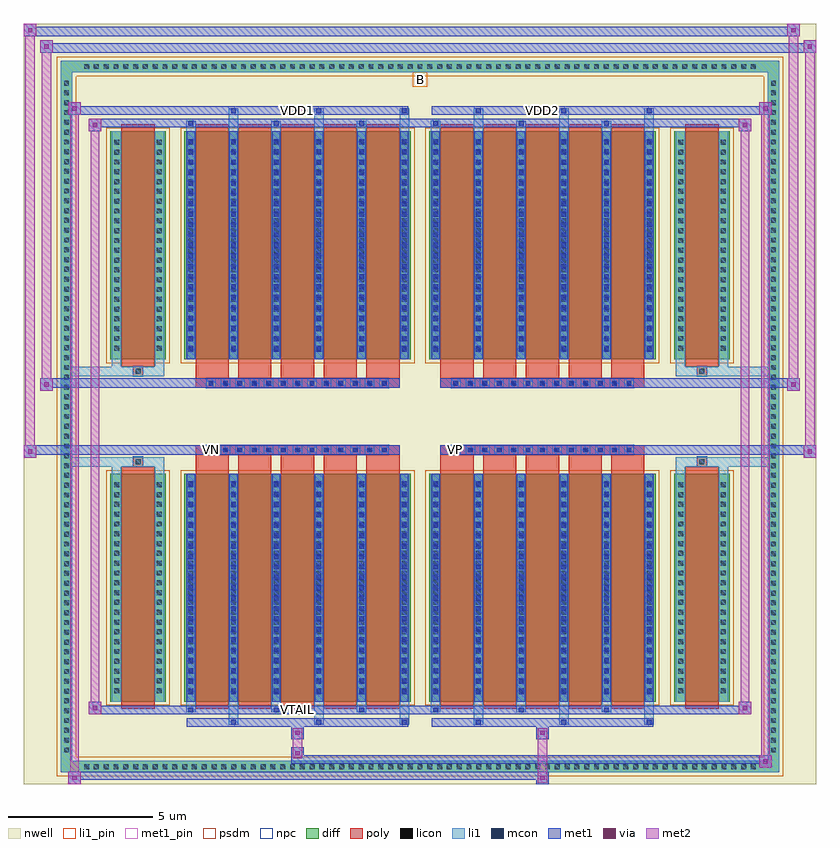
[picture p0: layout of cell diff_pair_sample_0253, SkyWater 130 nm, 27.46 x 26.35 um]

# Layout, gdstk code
import gdstk
lib = gdstk.Library(unit=1e-6, precision=5e-09)
def R(c, l, rs):  # rectangles x0, y0, x1, y1
    for r in rs: c.add(gdstk.rectangle(r[:2], r[2:], *l))
def A(c, l, x, y, w, h, nx, ny, dx, dy):  # array of equal rectangles
    R(c, l, [(x+i*dx, y+j*dy, x+i*dx+w, y+j*dy+h) for i in range(nx) for j in range(ny)])
def P(c, l, *ps):  # polygons
    for p in ps: c.add(gdstk.Polygon(p, *l))
nwell = (64, 20)
diff = (65, 20)
poly = (66, 20)
licon = (66, 44)
li1_pin = (67, 16)
li1 = (67, 20)
mcon = (67, 44)
met1_pin = (68, 16)
met1 = (68, 20)
via = (68, 44)
met2 = (69, 20)
psdm = (94, 20)
npc = (95, 20)

diff_pair_sample_0253 = lib.new_cell('diff_pair_sample_0253')
R(diff_pair_sample_0253, nwell, [(-13.73,-12.74,13.73,13.61), (-11.05,-10.93,-0.01,-0.795), (0.01,-10.93,11.05,-0.795), (-11.05,0.795,-0.01,10.93), (0.01,0.795,11.05,10.93)])
A(diff_pair_sample_0253, diff, -11.765, -12.34, 0.41, 0.41, 69, 2, 0.34, 24.27)
A(diff_pair_sample_0253, diff, -12.46, -11.765, 0.41, 0.41, 1, 69, 0, 0.34)
A(diff_pair_sample_0253, diff, 12.05, -11.765, 0.41, 0.41, 1, 69, 0, 0.34)
R(diff_pair_sample_0253, diff, [(-11.765,-12.34,11.765,-11.93), (-12.46,-11.765,-12.05,11.765), (12.05,-11.765,12.46,11.765), (-10.74,-9.885,-8.81,-1.985), (-8.17,-9.885,-0.32,-1.985), (0.32,-9.885,8.17,-1.985), (8.81,-9.885,10.74,-1.985), (-10.74,1.985,-8.81,9.885), (-8.17,1.985,-0.32,9.885), (0.32,1.985,8.17,9.885), (8.81,1.985,10.74,9.885), (-11.765,11.93,11.765,12.34)])
P(diff_pair_sample_0253, diff, [(12.46,12.34),(-12.46,12.34),(-12.46,-11.93),(-12.05,-11.93),(-12.05,11.93),(12.05,11.93),(12.05,-11.93),(-12.05,-11.93),(-12.46,-11.93),(-12.46,-12.34),(12.46,-12.34)])
A(diff_pair_sample_0253, poly, -7.78, -10.135, 1.15, 8.4, 5, 2, 1.48, 11.87)
A(diff_pair_sample_0253, poly, 0.71, -10.135, 1.15, 8.4, 5, 2, 1.48, 11.87)
A(diff_pair_sample_0253, poly, -7.78, -1.735, 1.15, 0.41, 5, 2, 1.48, 3.06)
A(diff_pair_sample_0253, poly, 0.71, -1.735, 1.15, 0.41, 5, 2, 1.48, 3.06)
A(diff_pair_sample_0253, poly, -7.41, -1.325, 0.33, 0.33, 13, 2, 0.5, 2.32)
A(diff_pair_sample_0253, poly, 1.08, -1.325, 0.33, 0.33, 13, 2, 0.5, 2.32)
R(diff_pair_sample_0253, poly, [(-10.35,-10.135,-9.2,-1.735), (9.2,-10.135,10.35,-1.735), (-9.94,-1.735,-9.61,-1.405), (-9.94,-1.735,-9.61,-1.405), (9.61,-1.735,9.94,-1.405), (9.61,-1.735,9.94,-1.405), (-7.78,-1.325,-0.71,-0.995), (0.71,-1.325,7.78,-0.995), (-7.78,0.995,-0.71,1.325), (0.71,0.995,7.78,1.325), (-9.94,1.405,-9.61,1.735), (-9.94,1.405,-9.61,1.735), (9.61,1.405,9.94,1.735), (9.61,1.405,9.94,1.735), (-10.35,1.735,-9.2,10.135), (9.2,1.735,10.35,10.135)])
A(diff_pair_sample_0253, licon, -11.645, -12.22, 0.17, 0.17, 69, 2, 0.34, 24.27)
A(diff_pair_sample_0253, licon, -12.34, -11.645, 0.17, 0.17, 1, 69, 0, 0.34)
A(diff_pair_sample_0253, licon, 12.17, -11.645, 0.17, 0.17, 1, 69, 0, 0.34)
A(diff_pair_sample_0253, licon, -10.6, -9.59, 0.17, 0.17, 1, 22, 0, 0.34)
A(diff_pair_sample_0253, licon, -9.12, -9.59, 0.17, 0.17, 1, 22, 0, 0.34)
A(diff_pair_sample_0253, licon, -8.03, -9.59, 0.17, 0.17, 6, 22, 1.48, 0.34)
A(diff_pair_sample_0253, licon, 0.46, -9.59, 0.17, 0.17, 6, 22, 1.48, 0.34)
A(diff_pair_sample_0253, licon, 8.95, -9.59, 0.17, 0.17, 1, 22, 0, 0.34)
A(diff_pair_sample_0253, licon, 10.43, -9.59, 0.17, 0.17, 1, 22, 0, 0.34)
A(diff_pair_sample_0253, licon, -7.33, -1.245, 0.17, 0.17, 13, 2, 0.5, 2.32)
A(diff_pair_sample_0253, licon, 1.16, -1.245, 0.17, 0.17, 13, 2, 0.5, 2.32)
A(diff_pair_sample_0253, licon, -10.6, 2.28, 0.17, 0.17, 1, 22, 0, 0.34)
A(diff_pair_sample_0253, licon, -9.12, 2.28, 0.17, 0.17, 1, 22, 0, 0.34)
A(diff_pair_sample_0253, licon, -8.03, 2.28, 0.17, 0.17, 6, 22, 1.48, 0.34)
A(diff_pair_sample_0253, licon, 0.46, 2.28, 0.17, 0.17, 6, 22, 1.48, 0.34)
A(diff_pair_sample_0253, licon, 8.95, 2.28, 0.17, 0.17, 1, 22, 0, 0.34)
A(diff_pair_sample_0253, licon, 10.43, 2.28, 0.17, 0.17, 1, 22, 0, 0.34)
R(diff_pair_sample_0253, licon, [(-9.86,-1.655,-9.69,-1.485), (9.69,-1.655,9.86,-1.485), (-9.86,1.485,-9.69,1.655), (9.69,1.485,9.86,1.655)])
R(diff_pair_sample_0253, li1_pin, [(-0.25,11.43,0.25,11.93)])
A(diff_pair_sample_0253, li1, -11.725, -12.3, 0.33, 0.33, 69, 2, 0.34, 24.27)
A(diff_pair_sample_0253, li1, -12.42, -11.725, 0.33, 0.33, 1, 69, 0, 0.34)
A(diff_pair_sample_0253, li1, 12.09, -11.725, 0.33, 0.33, 1, 69, 0, 0.34)
A(diff_pair_sample_0253, li1, -6.63, -10.69, 0.33, 0.805, 3, 2, 2.96, 20.575)
A(diff_pair_sample_0253, li1, -6.55, -10.69, 0.17, 0.17, 3, 2, 2.96, 21.21)
A(diff_pair_sample_0253, li1, 1.86, -10.69, 0.33, 0.805, 3, 2, 2.96, 20.575)
A(diff_pair_sample_0253, li1, 1.94, -10.69, 0.17, 0.17, 3, 2, 2.96, 21.21)
A(diff_pair_sample_0253, li1, -8.11, -10.26, 0.33, 0.375, 3, 2, 2.96, 20.145)
A(diff_pair_sample_0253, li1, -8.03, -10.26, 0.17, 0.17, 3, 2, 2.96, 20.35)
A(diff_pair_sample_0253, li1, 0.38, -10.26, 0.33, 0.375, 3, 2, 2.96, 20.145)
A(diff_pair_sample_0253, li1, 0.46, -10.26, 0.17, 0.17, 3, 2, 2.96, 20.35)
A(diff_pair_sample_0253, li1, -8.11, -9.885, 0.33, 7.9, 6, 2, 1.48, 11.87)
A(diff_pair_sample_0253, li1, 0.38, -9.885, 0.33, 7.9, 6, 2, 1.48, 11.87)
A(diff_pair_sample_0253, li1, -10.68, -9.67, 0.33, 0.33, 1, 22, 0, 0.34)
A(diff_pair_sample_0253, li1, -9.2, -9.67, 0.33, 0.33, 1, 22, 0, 0.34)
A(diff_pair_sample_0253, li1, -8.11, -9.67, 0.33, 0.33, 6, 22, 1.48, 0.34)
A(diff_pair_sample_0253, li1, 0.38, -9.67, 0.33, 0.33, 6, 22, 1.48, 0.34)
A(diff_pair_sample_0253, li1, 8.87, -9.67, 0.33, 0.33, 1, 22, 0, 0.34)
A(diff_pair_sample_0253, li1, 10.35, -9.67, 0.33, 0.33, 1, 22, 0, 0.34)
A(diff_pair_sample_0253, li1, -8.03, -9.62, 0.17, 0.17, 6, 21, 1.48, 0.36)
A(diff_pair_sample_0253, li1, -8.03, -9.62, 0.17, 7.37, 6, 2, 1.48, 11.87)
A(diff_pair_sample_0253, li1, 0.46, -9.62, 0.17, 0.17, 6, 21, 1.48, 0.36)
A(diff_pair_sample_0253, li1, 0.46, -9.62, 0.17, 7.37, 6, 2, 1.48, 11.87)
A(diff_pair_sample_0253, li1, -7.41, -1.325, 0.33, 0.33, 13, 2, 0.5, 2.32)
A(diff_pair_sample_0253, li1, 1.08, -1.325, 0.33, 0.33, 13, 2, 0.5, 2.32)
A(diff_pair_sample_0253, li1, -10.68, 2.2, 0.33, 0.33, 1, 22, 0, 0.34)
A(diff_pair_sample_0253, li1, -9.2, 2.2, 0.33, 0.33, 1, 22, 0, 0.34)
A(diff_pair_sample_0253, li1, -8.11, 2.2, 0.33, 0.33, 6, 22, 1.48, 0.34)
A(diff_pair_sample_0253, li1, 0.38, 2.2, 0.33, 0.33, 6, 22, 1.48, 0.34)
A(diff_pair_sample_0253, li1, 8.87, 2.2, 0.33, 0.33, 1, 22, 0, 0.34)
A(diff_pair_sample_0253, li1, 10.35, 2.2, 0.33, 0.33, 1, 22, 0, 0.34)
A(diff_pair_sample_0253, li1, -8.03, 2.25, 0.17, 0.17, 6, 21, 1.48, 0.36)
A(diff_pair_sample_0253, li1, 0.46, 2.25, 0.17, 0.17, 6, 21, 1.48, 0.36)
R(diff_pair_sample_0253, li1, [(-12.46,-12.34,-12.05,-11.93), (-12.46,-12.34,-12.05,-11.93), (-12.05,-12.34,12.05,-11.93), (12.05,-12.34,12.46,-11.93), (12.05,-12.34,12.46,-11.93), (-12.46,-11.93,-12.05,11.93), (12.05,-11.93,12.46,11.93), (-10.68,-9.885,-10.35,-1.985), (-9.2,-9.885,-8.87,-1.985), (8.87,-9.885,9.2,-1.985), (10.35,-9.885,10.68,-1.985), (-10.68,-1.985,-10.35,-1.405), (-9.2,-1.985,-8.87,-1.405), (8.87,-1.985,9.2,-1.405), (10.35,-1.985,10.68,-1.405), (-12.46,-1.735,-9.94,-1.405), (-10.68,-1.735,-9.94,-1.405), (-9.94,-1.735,-9.61,-1.405), (-9.61,-1.735,-8.87,-1.405), (8.87,-1.735,9.61,-1.405), (9.61,-1.735,9.94,-1.405), (9.61,-1.735,12.46,-1.405), (9.94,-1.735,10.68,-1.405), (-12.46,1.405,-9.94,1.735), (-10.68,1.405,-9.94,1.735), (-10.68,1.405,-10.35,1.985), (-9.94,1.405,-9.61,1.735), (-9.61,1.405,-8.87,1.735), (-9.2,1.405,-8.87,1.985), (8.87,1.405,9.61,1.735), (8.87,1.405,9.2,1.985), (9.61,1.405,9.94,1.735), (9.61,1.405,12.46,1.735), (9.94,1.405,10.68,1.735), (10.35,1.405,10.68,1.985), (-10.68,1.985,-10.35,9.885), (-9.2,1.985,-8.87,9.885), (8.87,1.985,9.2,9.885), (10.35,1.985,10.68,9.885), (-12.46,11.93,-12.05,12.34), (-12.46,11.93,-12.05,12.34), (-12.05,11.93,12.05,12.34), (12.05,11.93,12.46,12.34), (12.05,11.93,12.46,12.34)])
A(diff_pair_sample_0253, mcon, -6.55, -10.69, 0.17, 0.17, 3, 2, 2.96, 21.21)
A(diff_pair_sample_0253, mcon, 1.94, -10.69, 0.17, 0.17, 3, 2, 2.96, 21.21)
A(diff_pair_sample_0253, mcon, -8.03, -10.26, 0.17, 0.17, 3, 2, 2.96, 20.35)
A(diff_pair_sample_0253, mcon, 0.46, -10.26, 0.17, 0.17, 3, 2, 2.96, 20.35)
A(diff_pair_sample_0253, mcon, -8.03, -9.62, 0.17, 0.17, 6, 21, 1.48, 0.36)
A(diff_pair_sample_0253, mcon, 0.46, -9.62, 0.17, 0.17, 6, 21, 1.48, 0.36)
A(diff_pair_sample_0253, mcon, -7.33, -1.245, 0.17, 0.17, 13, 2, 0.5, 2.32)
A(diff_pair_sample_0253, mcon, 1.16, -1.245, 0.17, 0.17, 13, 2, 0.5, 2.32)
A(diff_pair_sample_0253, mcon, -8.03, 2.25, 0.17, 0.17, 6, 21, 1.48, 0.36)
A(diff_pair_sample_0253, mcon, 0.46, 2.25, 0.17, 0.17, 6, 21, 1.48, 0.36)
R(diff_pair_sample_0253, met1_pin, [(-4.38,-10.3,-4.11,-10.03), (-7.38,-1.285,-7.11,-1.015), (1.11,-1.285,1.38,-1.015), (-4.38,10.48,-4.11,10.75), (4.11,10.48,4.38,10.75)])
A(diff_pair_sample_0253, met1, -6.61, -10.75, 0.29, 0.29, 3, 2, 2.96, 21.21)
A(diff_pair_sample_0253, met1, 1.88, -10.75, 0.29, 0.29, 3, 2, 2.96, 21.21)
A(diff_pair_sample_0253, met1, -8.09, -10.32, 0.29, 0.29, 3, 2, 2.96, 20.35)
A(diff_pair_sample_0253, met1, 0.4, -10.32, 0.29, 0.29, 3, 2, 2.96, 20.35)
A(diff_pair_sample_0253, met1, -8.09, -9.885, 0.29, 7.9, 6, 2, 1.48, 11.87)
A(diff_pair_sample_0253, met1, 0.4, -9.885, 0.29, 7.9, 6, 2, 1.48, 11.87)
A(diff_pair_sample_0253, met1, -8.09, -9.68, 0.29, 0.29, 6, 21, 1.48, 0.36)
A(diff_pair_sample_0253, met1, 0.4, -9.68, 0.29, 0.29, 6, 21, 1.48, 0.36)
A(diff_pair_sample_0253, met1, -7.39, -1.305, 0.29, 0.29, 13, 2, 0.5, 2.32)
A(diff_pair_sample_0253, met1, 1.1, -1.305, 0.29, 0.29, 13, 2, 0.5, 2.32)
A(diff_pair_sample_0253, met1, -8.09, 2.19, 0.29, 0.29, 6, 21, 1.48, 0.36)
A(diff_pair_sample_0253, met1, 0.4, 2.19, 0.29, 0.29, 6, 21, 1.48, 0.36)
R(diff_pair_sample_0253, met1, [(-12.19,-12.74,-11.76,-12.31), (4.03,-12.74,4.46,-12.31), (-12.19,-12.6,4.46,-12.31), (11.76,-12.17,12.19,-11.74), (-4.46,-12.03,12.19,-11.74), (-4.46,-11.89,-4.03,-11.46), (-4.46,-11.18,-4.03,-10.75), (4.03,-11.18,4.46,-10.75), (-8.09,-10.75,-0.4,-10.46), (0.4,-10.75,8.09,-10.46), (-11.48,-10.32,-11.05,-9.89), (-11.48,-10.32,-8.09,-10.03), (-8.09,-10.32,-0.4,-10.03), (-0.4,-10.32,0.4,-10.03), (0.4,-10.32,8.09,-10.03), (8.09,-10.32,11.48,-10.03), (11.05,-10.32,11.48,-9.89), (-13.73,-1.425,-13.3,-0.995), (13.3,-1.425,13.73,-0.995), (-13.73,-1.325,-0.71,-0.995), (-7.78,-1.325,-0.71,-0.995), (0.71,-1.325,7.78,-0.995), (0.71,-1.325,13.73,-0.995), (-13.16,0.895,-12.73,1.325), (12.73,0.895,13.16,1.325), (-13.16,0.995,-7.78,1.325), (-7.78,0.995,-0.71,1.325), (0.71,0.995,7.78,1.325), (7.78,0.995,13.16,1.325), (-11.48,9.89,-11.05,10.32), (11.05,9.89,11.48,10.32), (-11.48,10.03,-8.09,10.32), (-8.09,10.03,-0.4,10.32), (-0.4,10.03,0.4,10.32), (0.4,10.03,8.09,10.32), (8.09,10.03,11.48,10.32), (-12.19,10.46,-11.76,10.89), (-12.19,10.46,-8.09,10.75), (-8.09,10.46,-0.4,10.75), (0.4,10.46,8.09,10.75), (8.09,10.46,12.19,10.75), (11.76,10.46,12.19,10.89), (-13.16,12.61,-12.73,13.04), (-13.16,12.61,-11.05,12.94), (-11.05,12.61,11.05,12.94), (11.05,12.61,13.73,12.94), (13.3,12.61,13.73,13.04), (-13.73,13.18,-13.3,13.61), (-13.73,13.18,-11.05,13.51), (-11.05,13.18,11.05,13.51), (11.05,13.18,13.16,13.51), (12.73,13.18,13.16,13.61)])
R(diff_pair_sample_0253, via, [(-12.05,-12.6,-11.9,-12.45), (4.17,-12.6,4.32,-12.45), (11.9,-12.03,12.05,-11.88), (-4.32,-11.75,-4.17,-11.6), (-4.32,-11.04,-4.17,-10.89), (4.17,-11.04,4.32,-10.89), (-11.34,-10.18,-11.19,-10.03), (11.19,-10.18,11.34,-10.03), (-13.59,-1.285,-13.44,-1.135), (13.44,-1.285,13.59,-1.135), (-13.02,1.035,-12.87,1.185), (12.87,1.035,13.02,1.185), (-11.34,10.03,-11.19,10.18), (11.19,10.03,11.34,10.18), (-12.05,10.6,-11.9,10.75), (11.9,10.6,12.05,10.75), (-13.02,12.75,-12.87,12.9), (13.44,12.75,13.59,12.9), (-13.59,13.32,-13.44,13.47), (12.87,13.32,13.02,13.47)])
R(diff_pair_sample_0253, met2, [(-12.19,-12.74,-11.76,-12.31), (-12.12,-12.74,-11.83,10.89), (-11.83,-12.74,-11.76,-12.31), (-12.14,-12.69,-11.81,-12.36), (4.08,-12.69,4.41,-12.36), (4.08,-12.36,4.41,-11.13), (11.76,-12.17,12.19,-11.74), (11.83,-12.17,12.12,10.89), (12.12,-12.17,12.19,-11.74), (11.81,-12.12,12.14,-11.79), (-4.41,-11.84,-4.08,-11.51), (-4.41,-11.51,-4.08,-11.13), (-4.41,-11.13,-4.08,-10.8), (4.08,-11.13,4.41,-10.8), (-11.48,-10.32,-11.05,-9.89), (-11.41,-10.32,-11.12,10.32), (-11.12,-10.32,-11.05,-9.89), (11.05,-10.32,11.48,-9.89), (11.12,-10.32,11.41,10.32), (11.41,-10.32,11.48,-9.89), (-11.43,-10.27,-11.1,-9.94), (11.1,-10.27,11.43,-9.94), (-13.73,-1.425,-13.3,-0.995), (-13.68,-1.425,-13.35,13.61), (-13.35,-1.425,-13.3,-0.995), (13.3,-1.425,13.73,-0.995), (13.35,-1.425,13.68,13.04), (13.68,-1.425,13.73,-0.995), (-13.68,-1.375,-13.35,-1.045), (13.35,-1.375,13.68,-1.045), (-13.16,0.895,-12.73,1.325), (-13.11,0.895,-12.78,13.04), (-12.78,0.895,-12.73,1.325), (12.73,0.895,13.16,1.325), (12.78,0.895,13.11,13.61), (13.11,0.895,13.16,1.325), (-13.11,0.945,-12.78,1.275), (12.78,0.945,13.11,1.275), (-11.48,9.89,-11.05,10.32), (-11.12,9.89,-11.05,10.32), (11.05,9.89,11.48,10.32), (11.41,9.89,11.48,10.32), (-11.43,9.94,-11.1,10.27), (11.1,9.94,11.43,10.27), (-12.19,10.46,-11.76,10.89), (-11.83,10.46,-11.76,10.89), (11.76,10.46,12.19,10.89), (12.12,10.46,12.19,10.89), (-12.14,10.51,-11.81,10.84), (11.81,10.51,12.14,10.84), (-13.16,12.61,-12.73,13.04), (-12.78,12.61,-12.73,13.04), (13.3,12.61,13.73,13.04), (13.68,12.61,13.73,13.04), (-13.11,12.66,-12.78,12.99), (13.35,12.66,13.68,12.99), (-13.73,13.18,-13.3,13.61), (-13.35,13.18,-13.3,13.61), (12.73,13.18,13.16,13.61), (13.11,13.18,13.16,13.61), (-13.68,13.23,-13.35,13.56), (12.78,13.23,13.11,13.56)])
R(diff_pair_sample_0253, psdm, [(-10.87,-10.015,-8.68,-1.855), (-8.3,-10.015,-0.19,-1.855), (0.19,-10.015,8.3,-1.855), (8.68,-10.015,10.87,-1.855), (-10.87,1.855,-8.68,10.015), (-8.3,1.855,-0.19,10.015), (0.19,1.855,8.3,10.015), (8.68,1.855,10.87,10.015)])
P(diff_pair_sample_0253, psdm, [(12.59,12.47),(-12.59,12.47),(-12.59,-11.8),(-11.92,-11.8),(-11.92,11.8),(11.92,11.8),(11.92,-11.8),(-11.92,-11.8),(-12.59,-11.8),(-12.59,-12.47),(12.59,-12.47)])
A(diff_pair_sample_0253, npc, -7.43, -1.345, 0.37, 0.37, 13, 2, 0.5, 2.32)
A(diff_pair_sample_0253, npc, 1.06, -1.345, 0.37, 0.37, 13, 2, 0.5, 2.32)
R(diff_pair_sample_0253, npc, [(-9.96,-1.755,-9.59,-1.385), (9.59,-1.755,9.96,-1.385), (-7.43,-1.345,-6.56,-0.975), (-7.43,-1.345,-6.56,-0.975), (-6.93,-1.345,-6.06,-0.975), (-6.93,-1.345,-6.06,-0.975), (-6.43,-1.345,-5.56,-0.975), (-6.43,-1.345,-5.56,-0.975), (-5.93,-1.345,-5.06,-0.975), (-5.93,-1.345,-5.06,-0.975), (-5.43,-1.345,-4.56,-0.975), (-5.43,-1.345,-4.56,-0.975), (-4.93,-1.345,-4.06,-0.975), (-4.93,-1.345,-4.06,-0.975), (-4.43,-1.345,-3.56,-0.975), (-4.43,-1.345,-3.56,-0.975), (-3.93,-1.345,-3.06,-0.975), (-3.93,-1.345,-3.06,-0.975), (-3.43,-1.345,-2.56,-0.975), (-3.43,-1.345,-2.56,-0.975), (-2.93,-1.345,-2.06,-0.975), (-2.93,-1.345,-2.06,-0.975), (-2.43,-1.345,-1.56,-0.975), (-2.43,-1.345,-1.56,-0.975), (-1.93,-1.345,-1.06,-0.975), (-1.93,-1.345,-1.06,-0.975), (1.06,-1.345,1.93,-0.975), (1.06,-1.345,1.93,-0.975), (1.56,-1.345,2.43,-0.975), (1.56,-1.345,2.43,-0.975), (2.06,-1.345,2.93,-0.975), (2.06,-1.345,2.93,-0.975), (2.56,-1.345,3.43,-0.975), (2.56,-1.345,3.43,-0.975), (3.06,-1.345,3.93,-0.975), (3.06,-1.345,3.93,-0.975), (3.56,-1.345,4.43,-0.975), (3.56,-1.345,4.43,-0.975), (4.06,-1.345,4.93,-0.975), (4.06,-1.345,4.93,-0.975), (4.56,-1.345,5.43,-0.975), (4.56,-1.345,5.43,-0.975), (5.06,-1.345,5.93,-0.975), (5.06,-1.345,5.93,-0.975), (5.56,-1.345,6.43,-0.975), (5.56,-1.345,6.43,-0.975), (6.06,-1.345,6.93,-0.975), (6.06,-1.345,6.93,-0.975), (6.56,-1.345,7.43,-0.975), (6.56,-1.345,7.43,-0.975), (-7.43,0.975,-6.56,1.345), (-7.43,0.975,-6.56,1.345), (-6.93,0.975,-6.06,1.345), (-6.93,0.975,-6.06,1.345), (-6.43,0.975,-5.56,1.345), (-6.43,0.975,-5.56,1.345), (-5.93,0.975,-5.06,1.345), (-5.93,0.975,-5.06,1.345), (-5.43,0.975,-4.56,1.345), (-5.43,0.975,-4.56,1.345), (-4.93,0.975,-4.06,1.345), (-4.93,0.975,-4.06,1.345), (-4.43,0.975,-3.56,1.345), (-4.43,0.975,-3.56,1.345), (-3.93,0.975,-3.06,1.345), (-3.93,0.975,-3.06,1.345), (-3.43,0.975,-2.56,1.345), (-3.43,0.975,-2.56,1.345), (-2.93,0.975,-2.06,1.345), (-2.93,0.975,-2.06,1.345), (-2.43,0.975,-1.56,1.345), (-2.43,0.975,-1.56,1.345), (-1.93,0.975,-1.06,1.345), (-1.93,0.975,-1.06,1.345), (1.06,0.975,1.93,1.345), (1.06,0.975,1.93,1.345), (1.56,0.975,2.43,1.345), (1.56,0.975,2.43,1.345), (2.06,0.975,2.93,1.345), (2.06,0.975,2.93,1.345), (2.56,0.975,3.43,1.345), (2.56,0.975,3.43,1.345), (3.06,0.975,3.93,1.345), (3.06,0.975,3.93,1.345), (3.56,0.975,4.43,1.345), (3.56,0.975,4.43,1.345), (4.06,0.975,4.93,1.345), (4.06,0.975,4.93,1.345), (4.56,0.975,5.43,1.345), (4.56,0.975,5.43,1.345), (5.06,0.975,5.93,1.345), (5.06,0.975,5.93,1.345), (5.56,0.975,6.43,1.345), (5.56,0.975,6.43,1.345), (6.06,0.975,6.93,1.345), (6.06,0.975,6.93,1.345), (6.56,0.975,7.43,1.345), (6.56,0.975,7.43,1.345), (-9.96,1.385,-9.59,1.755), (9.59,1.385,9.96,1.755)])
diff_pair_sample_0253.add(gdstk.Label('VTAIL', (-4.245,-10.165), layer=68, texttype=5))
diff_pair_sample_0253.add(gdstk.Label('VN', (-7.245,-1.15), layer=68, texttype=5))
diff_pair_sample_0253.add(gdstk.Label('VP', (1.245,-1.15), layer=68, texttype=5))
diff_pair_sample_0253.add(gdstk.Label('B', (0,11.68), layer=67, texttype=5))
diff_pair_sample_0253.add(gdstk.Label('VDD2', (4.245,10.615), layer=68, texttype=5))
diff_pair_sample_0253.add(gdstk.Label('VDD1', (-4.245,10.615), layer=68, texttype=5))

lib.write_gds('diff_pair_sample_0253.gds')
